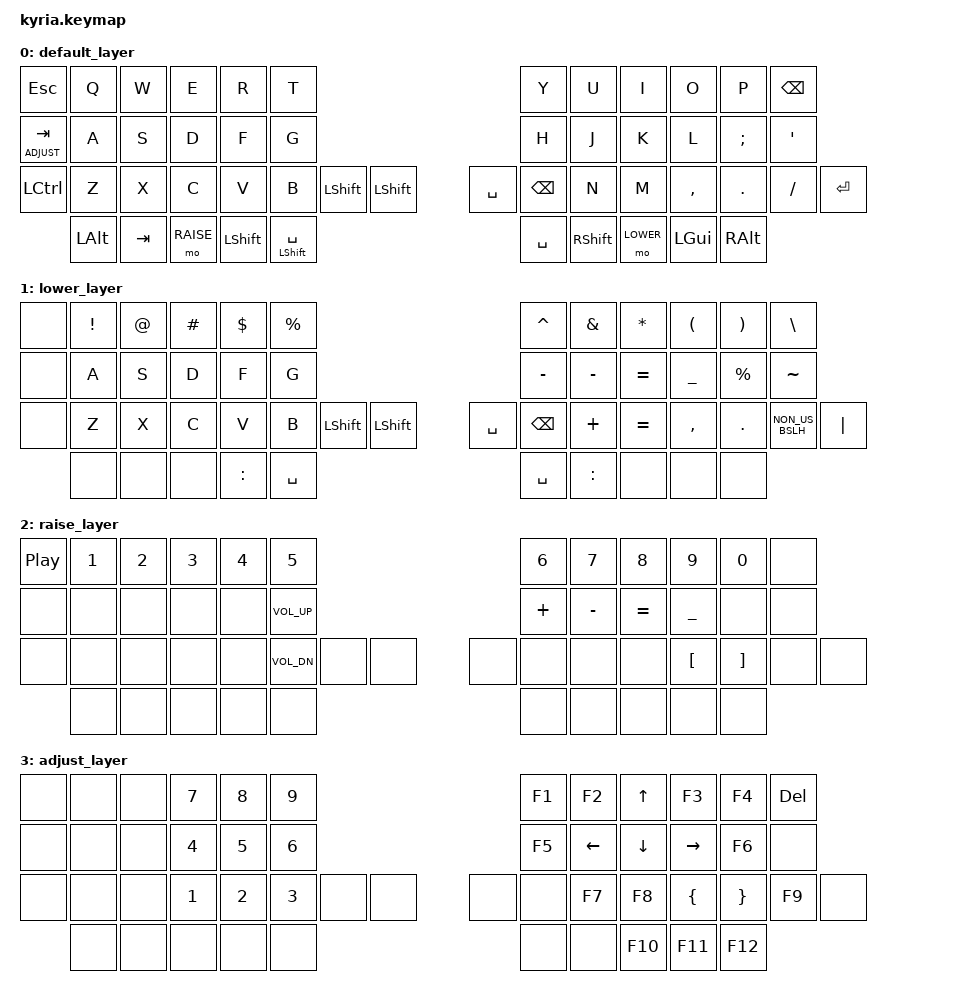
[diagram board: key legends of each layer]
/*
 * Copyright (c) 2020 The ZMK Contributors
 *
 * SPDX-License-Identifier: MIT
 */

#include <behaviors.dtsi>
#include <dt-bindings/zmk/keys.h>
#define DEFAULT 0
#define LOWER   1
#define RAISE   2
#define ADJUST   3

/ {
	keymap {
		compatible = "zmk,keymap";

		default_layer {
			bindings = <
	&kp ESC        &kp Q &kp W &kp E &kp R &kp T                                                &kp Y &kp U  &kp I     &kp O   &kp P    &kp BSPC
	&lt ADJUST TAB &kp A &kp S &kp D &kp F &kp G                                                &kp H &kp J  &kp K     &kp L   &kp SEMI &kp SQT
	&kp LCTRL      &kp Z &kp X &kp C &kp V &kp B  &kp LSHFT &kp LSHFT             &kp SPACE  &kp BSPC  &kp N &kp M  &kp COMMA &kp DOT &kp FSLH &kp RET
	                &kp LALT &kp TAB &mo RAISE    &kp LSHFT &mt LSHIFT SPACE      &kp SPACE  &kp RSHFT &mo LOWER &kp LGUI &kp RALT
			>;
		};
		lower_layer {
			bindings = <
	&none   &kp EXCL &kp AT &kp HASH &kp DLLR &kp PRCNT				     &kp CARET &kp AMPS  &kp ASTRK &kp LPAR  &kp RPAR  &kp BSLH
	&none   &kp A &kp S &kp D &kp F &kp G                                                &kp MINUS &kp MINUS &kp EQUAL &kp UNDER &kp PRCNT &kp TILDE
	&none   &kp Z &kp X &kp C &kp V &kp B &kp LSHFT &kp LSHFT       &kp SPACE  &kp BSPC  &kp PLUS  &kp EQUAL &kp COMMA &kp DOT   &kp NON_US_BSLH &kp PIPE
	                &none &none &none &kp COLON &kp SPACE           &kp SPACE  &kp COLON &none &none &none
			>;
		};


		raise_layer {
			bindings = <
	&kp C_PP &kp N1   &kp N2 &kp N3 &kp N4 &kp N5                              &kp N6   &kp N7    &kp N8    &kp N9    &kp N0 &none
	&none &none &none &none &none &kp C_VOL_UP                                 &kp PLUS &kp MINUS &kp EQUAL &kp UNDER &none  &none
	&none &none &none &none &none &kp C_VOL_DN &none &none       &none  &none  &none    &none     &kp LBKT  &kp RBKT  &none  &none
	                         &none &none &none &none &none       &none  &none  &none &none &none
			>;
		};

		adjust_layer {
			bindings = <
	&none   &none &none &kp N7 &kp N8 &kp N9                                  &kp F1 &kp F2     &kp UP     &kp F3    &kp F4    &kp DEL
	&none   &none &none &kp N4 &kp N5 &kp N6                                  &kp F5 &kp LEFT   &kp DOWN   &kp RIGHT &kp F6    &none
	&none   &none &none &kp N1 &kp N2 &kp N3  &none &none        &none &none  &kp F7 &kp F8     &kp LBRC   &kp RBRC  &kp F9 &none
	                    &none &none &none     &none &none        &none &none  &kp F10 &kp F11 &kp F12
			>;
		};
	};
};
